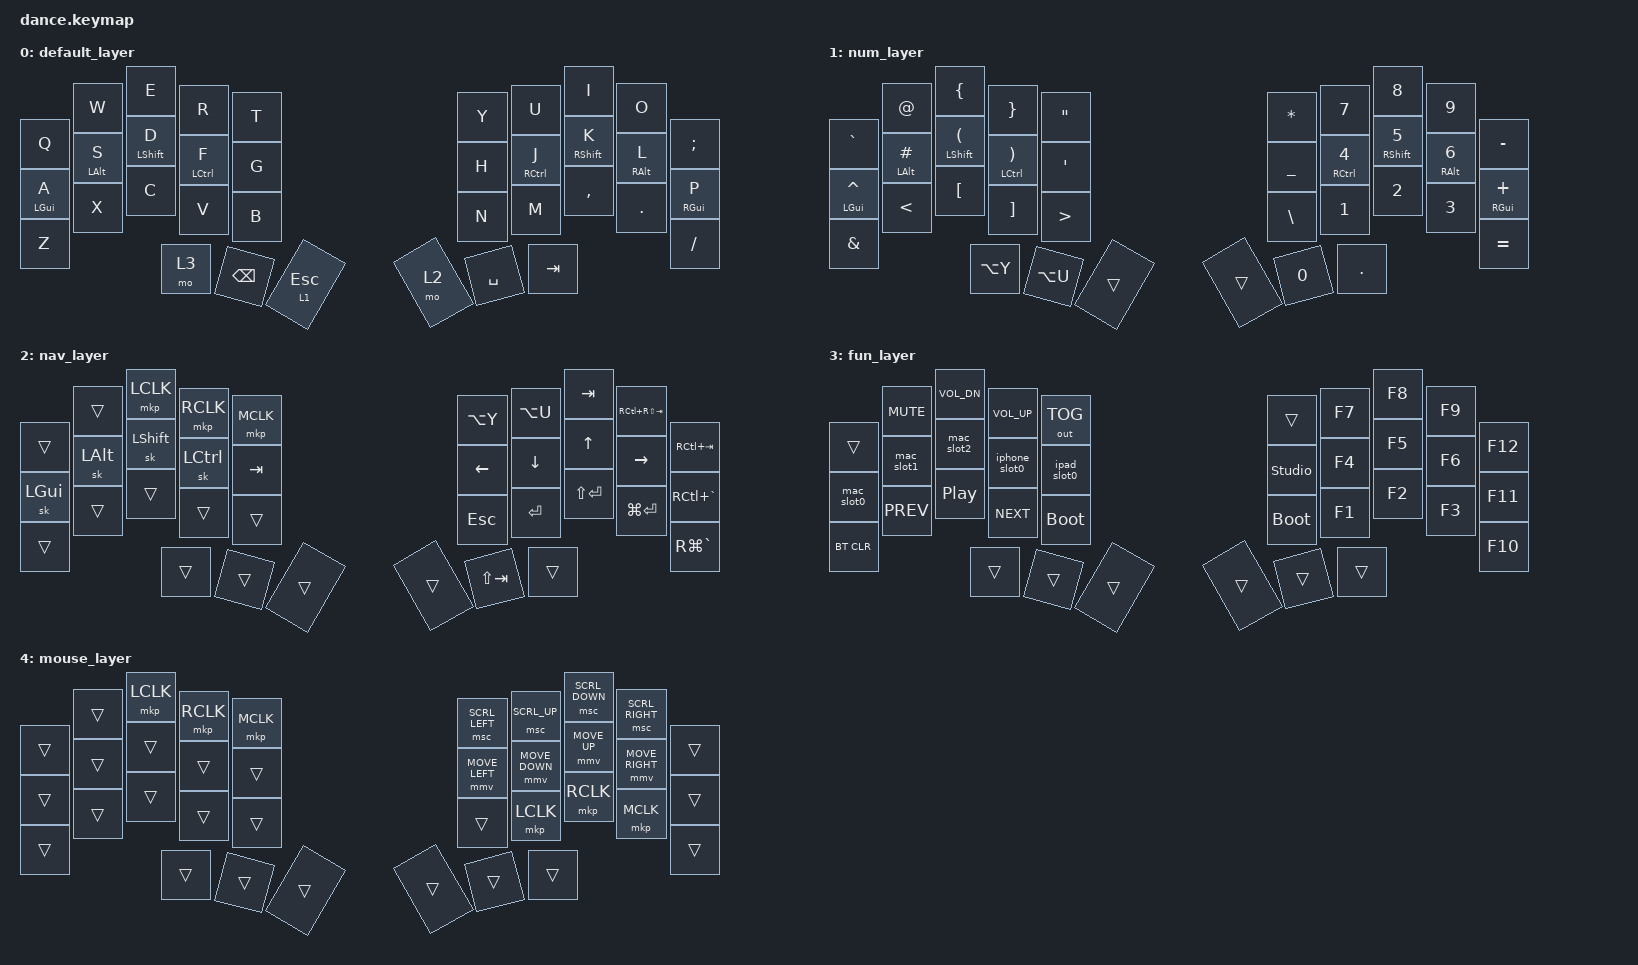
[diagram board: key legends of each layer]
/*
 * Copyright (c) 2020 The ZMK Contributors
 *
 * SPDX-License-Identifier: MIT
 */

#include "keypos_36keys.h"
#include <behaviors.dtsi>
#include <dt-bindings/zmk/bt.h>
#include <dt-bindings/zmk/keys.h>
#include <dt-bindings/zmk/mouse.h>
#include <dt-bindings/zmk/pointing.h>
#include <input/processors.dtsi>
#include <dt-bindings/zmk/outputs.h>
#include "bt_slots.dtsi"

#define DEFAULT 0
#define NUM 1
#define NAV 2
#define FUN 3
#define MOU 4

// home row modifiers timing

#define QUICK_TAP_MS 175
#define REQUIRE_PRIOR_IDLE_MS 210 // set it to at least 10500/x where x is your (relaxed) WPM for English prose
#define TAPING_TERM_MS 280

// combo timing

#define COMBO_TERM_FAST 18
#define COMBO_TERM_SLOW 30
#define COMBO_IDLE_FAST 150
#define COMBO_IDLE_SLOW 50

// mouse settings

#define ZMK_POINTING_DEFAULT_MOVE_VAL 600  // 600
#define ZMK_POINTING_DEFAULT_SCRL_VAL 20   // 10

&mmv {
    acceleration-exponent = <1>;      // 1
    time-to-max-speed-ms = <500>;     // 300
    trigger-period-ms = <16>;
};

&msc {
    acceleration-exponent = <1>;      // 0
    time-to-max-speed-ms = <40>;      // 300
    trigger-period-ms = <16>;
};

&mmv_input_listener {
  warp {
    layers = <MOU>;
    input-processors = <&zip_xy_scaler 3 1>;
  };
  precision {
    layers = <FUN>;
    input-processors = <&zip_xy_scaler 1 2>;
  };
};

/ {
    conditional_layers {
        compatible = "zmk,conditional-layers";

        tri_layer {
            if-layers = <NUM NAV>;
            then-layer = <MOU>;
        };
    };

    behaviors {
        hml: hml {
            compatible = "zmk,behavior-hold-tap";
            #binding-cells = <2>;
            flavor = "balanced";
            tapping-term-ms = <TAPING_TERM_MS>;
            quick-tap-ms = <QUICK_TAP_MS>;
            require-prior-idle-ms = <REQUIRE_PRIOR_IDLE_MS>;
            bindings = <&kp>, <&kp>;

            hold-trigger-key-positions = <KEYS_R THUMBS>;
            hold-trigger-on-release;
        };

        hmr: hmr {
            compatible = "zmk,behavior-hold-tap";
            #binding-cells = <2>;
            flavor = "balanced";
            tapping-term-ms = <TAPING_TERM_MS>;
            quick-tap-ms = <QUICK_TAP_MS>;
            require-prior-idle-ms = <REQUIRE_PRIOR_IDLE_MS>;
            bindings = <&kp>, <&kp>;

            hold-trigger-key-positions = <KEYS_L THUMBS>;
            hold-trigger-on-release;
        };

        super_bspc: super_backspace {
            compatible = "zmk,behavior-mod-morph";
            #binding-cells = <0>;
            bindings = <&kp BACKSPACE>, <&kp LA(BACKSPACE)>;

            mods = <(MOD_LSFT|MOD_RSFT)>;
        };

        comma_semi: comma_semi {
            compatible = "zmk,behavior-mod-morph";
            #binding-cells = <0>;
            bindings = <&kp COMMA>, <&kp SEMI>;

            mods = <(MOD_LSFT|MOD_RSFT)>;
        };

        dot_colon: dot_colon {
            compatible = "zmk,behavior-mod-morph";
            #binding-cells = <0>;
            bindings = <&kp DOT>, <&kp COLON>;

            mods = <(MOD_LSFT|MOD_RSFT)>;
        };

        qmrk_excl: qmrk_excl {
            compatible = "zmk,behavior-mod-morph";
            #binding-cells = <0>;
            bindings = <&kp QMARK>, <&kp EXCL>;

            mods = <(MOD_LSFT|MOD_RSFT)>;
        };

        slh_morph: slh_morph {
            compatible = "zmk,behavior-mod-morph";
            #binding-cells = <0>;
            bindings = <&kp FSLH>, <&kp BSLH>;

            mods = <(MOD_LSFT|MOD_RSFT)>;
        };

        amps_morph: amps_morph {
            compatible = "zmk,behavior-mod-morph";
            #binding-cells = <0>;
            bindings = <&kp AMPS>, <&kp PIPE>;

            mods = <(MOD_LSFT|MOD_RSFT)>;
        };
    };

    combos { compatible = "zmk,combos"; };

    keymap {
        compatible = "zmk,keymap";

        default_layer {
            bindings = <
  &kp Q        &kp W        &kp E         &kp R          &kp T        &kp Y  &kp U         &kp I         &kp O        &kp SEMICOLON
  &hml LGUI A  &hml LALT S  &hml LSHFT D  &hml LCTRL F   &kp G        &kp H  &hmr RCTRL J  &hmr RSHFT K  &hmr RALT L  &hmr RGUI P
  &kp Z        &kp X        &kp C         &kp V          &kp B        &kp N  &kp M         &kp COMMA     &kp DOT      &kp FSLH
                            &mo 3         &kp BACKSPACE  &lt 1 ESC    &mo 2  &kp SPACE     &kp TAB
            >;
        };

        num_layer {
            bindings = <
  &kp GRAVE        &kp AT          &kp LBRC         &kp RBRC         &kp DOUBLE_QUOTES    &kp STAR       &kp N7         &kp N8         &kp N9        &kp MINUS
  &hml LGUI CARET  &hml LALT HASH  &hml LSHFT LPAR  &hml LCTRL RPAR  &kp SINGLE_QUOTE     &kp UNDER      &hmr RCTRL N4  &hmr RSHFT N5  &hmr RALT N6  &hmr RGUI PLUS
  &kp AMPS         &kp LT          &kp LBKT         &kp RBKT         &kp GT               &kp BACKSLASH  &kp N1         &kp N2         &kp N3        &kp EQUAL
                                   &kp LA(Y)        &kp LA(U)        &trans               &trans         &kp N0         &kp DOT
            >;
        };

        nav_layer {
            bindings = <
  &trans    &trans    &mkp LCLK  &mkp RCLK  &mkp MCLK    &kp LA(Y)  &kp LA(U)    &kp TAB        &kp RC(RS(TAB))  &kp RC(TAB)
  &sk LGUI  &sk LALT  &sk LSHFT  &sk LCTRL  &kp TAB      &kp LEFT   &kp DOWN     &kp UP         &kp RIGHT        &kp RC(GRAVE)
  &trans    &trans    &trans     &trans     &trans       &kp ESC    &kp RET      &kp LS(ENTER)  &kp LG(ENTER)    &kp RG(GRAVE)
                      &trans     &trans     &trans       &trans     &kp LS(TAB)  &trans
            >;
        };

        fun_layer {
            bindings = <
  &trans        &kp K_MUTE    &kp C_VOL_DN  &kp C_VOL_UP  &out OUT_TOG    &trans          &kp F7  &kp F8  &kp F9  &kp F12
  &mac_slot0  &mac_slot1  &mac_slot2  &iphone_slot0  &ipad_slot0    &studio_unlock  &kp F4  &kp F5  &kp F6  &kp F11
  &bt BT_CLR    &kp C_PREV    &kp C_PP      &kp C_NEXT    &bootloader     &bootloader     &kp F1  &kp F2  &kp F3  &kp F10
                              &trans        &trans        &trans          &trans          &trans  &trans
            >;
        };

        mouse_layer {
            bindings = <
  &trans  &trans  &mkp LCLK  &mkp RCLK  &mkp MCLK    &msc SCRL_LEFT  &msc SCRL_UP     &msc SCRL_DOWN   &msc SCRL_RIGHT    &trans
  &trans  &trans  &trans  &trans  &trans    &mmv MOVE_LEFT  &mmv MOVE_DOWN     &mmv MOVE_UP   &mmv MOVE_RIGHT  &trans
  &trans  &trans  &trans  &trans  &trans    &trans  &mkp LCLK  &mkp RCLK  &mkp MCLK  &trans
                  &trans  &trans  &trans    &trans  &trans     &trans
            >;
        };
    };
};
